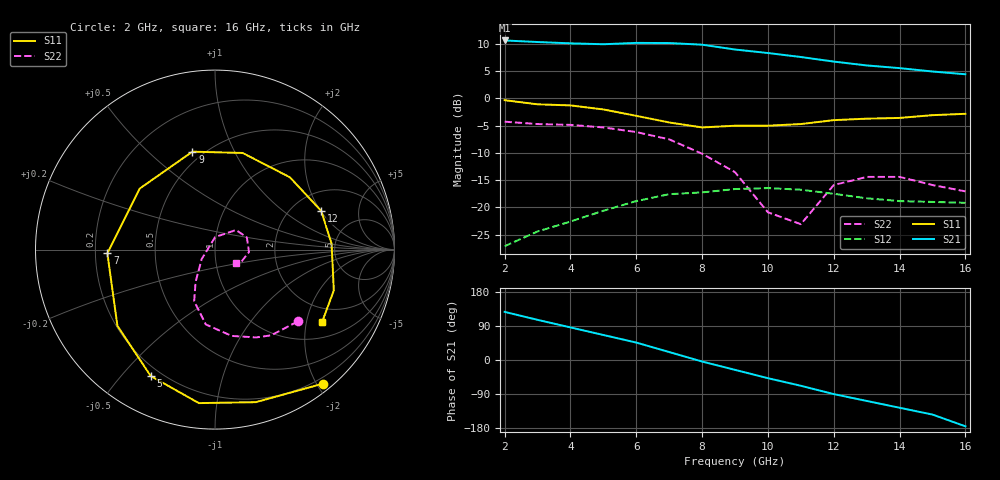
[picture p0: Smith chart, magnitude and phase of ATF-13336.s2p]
!ATF-13336
!S-PARAMETERS at Vds=2.5V  Id=20mA.  LAST UPDATED 07-22-92
# ghz s ma r 50
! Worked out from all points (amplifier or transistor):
!   15 points, 2 GHz to 16 GHz, reference 50 ohm
!   highest |S21| = 10.6 dB at 2 GHz (marker M1)
!   |S21| within 3 dB of that: start of sweep to 10.95 GHz
!   unconditionally stable (mu >= 1): 9.651 GHz to end of sweep
!   at 4 GHz: K = 0.54, MSG = 16.3 dB, |S12| = -22.6 dB
!   at 9 GHz: K = 0.94, MSG = 12.8 dB, |S12| = -16.7 dB
!   at 16 GHz: K = 1.42, MAG = 7.9 dB, |S12| = -19.2 dB
!   lowest NFmin = 0.70 dB at 2 GHz
!   S11 on the Smith chart (normalised r, x): 2 GHz: 0.11, -2.09; 5 GHz: 0.16, -0.60; 7 GHz: 0.25, -0.02; 9 GHz: 0.44, +0.70; 12 GHz: 2.83, +2.02; 16 GHz: 1.48, -2.48
2  0.96 -51.0  3.39 127.0  0.044 57.0  0.61 -41.0
3  0.88 -75.0  3.28 106.0  0.06 33.0  0.58 -51.0
4  0.86 -96.0  3.19 86.0  0.074 25.0  0.57 -57.0
5  0.79 -117.0  3.13 66.0  0.093 12.0  0.54 -65.0
6  0.69 -142.0  3.22 46.0  0.114 1.0  0.49 -79.0
7  0.6 -178.0  3.21 21.0  0.132 -18.0  0.42 -97.0
8  0.54 141.0  3.1 -4.0  0.137 -33.0  0.31 -112.0
9  0.56 103.0  2.8 -26.0  0.147 -48.0  0.21 -121.0
10  0.56 74.0  2.6 -48.0  0.15 -63.0  0.09 -145.0
11  0.58 44.0  2.39 -68.0  0.145 -78.0  0.07 89.0
12  0.63 20.0  2.17 -90.0  0.133 -95.0  0.16 43.0
13  0.65 3.0  2 -108.0  0.121 -107.0  0.19 21.0
14  0.66 -7.0  1.89 -126.0  0.114 -121.0  0.19 -4.0
15  0.7 -19.0  1.76 -144.0  0.112 -129.0  0.16 -28.0
16  0.72 -34.0  1.66 -175.0  0.11 -142.0  0.14 -32.0
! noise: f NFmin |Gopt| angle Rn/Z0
2  0.7  0.8  42  0.43
4  0.8  0.63  93  0.29
6  1.1  0.47  138  0.1
8  1.2  0.4  -153  0.2
10  1.3  0.47  -96  0.5
12  1.4  0.52  -45  0.88
14  1.6  0.57  -2  1.3
